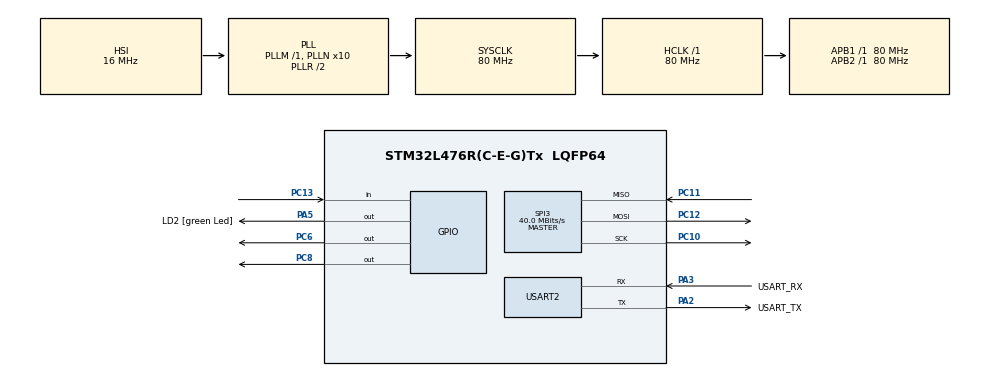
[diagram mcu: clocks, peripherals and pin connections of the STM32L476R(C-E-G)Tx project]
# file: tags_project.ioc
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Mcu.Family=STM32L4
Mcu.Name=STM32L476R(C-E-G)Tx
Mcu.Package=LQFP64
NVIC.PriorityGroup=NVIC_PRIORITYGROUP_4
PA13\ (JTMS-SWDIO).GPIO_Label=TMS
PA13\ (JTMS-SWDIO).Mode=Serial_Wire
PA13\ (JTMS-SWDIO).Signal=SYS_JTMS-SWDIO
PA14\ (JTCK-SWCLK).GPIO_Label=TCK
PA14\ (JTCK-SWCLK).Mode=Serial_Wire
PA14\ (JTCK-SWCLK).Signal=SYS_JTCK-SWCLK
PA2.GPIO_Label=USART_TX
PA2.GPIO_Mode=GPIO_MODE_AF_PP
PA2.GPIO_PuPd=GPIO_NOPULL
PA2.GPIO_Speed=GPIO_SPEED_FREQ_VERY_HIGH
PA2.Mode=Asynchronous
PA2.Signal=USART2_TX
PA3.GPIO_Label=USART_RX
PA3.GPIO_Mode=GPIO_MODE_AF_PP
PA3.GPIO_PuPd=GPIO_NOPULL
PA3.GPIO_Speed=GPIO_SPEED_FREQ_VERY_HIGH
PA3.Mode=Asynchronous
PA3.Signal=USART2_RX
PA5.GPIO_Label=LD2 [green Led]
PA5.GPIO_ModeDefaultOutputPP=GPIO_MODE_OUTPUT_PP
PA5.GPIO_PuPd=GPIO_NOPULL
PA5.GPIO_Speed=GPIO_SPEED_FREQ_LOW
PA5.Signal=GPIO_Output
PB3\ (JTDO-TRACESWO).GPIO_Label=SWO
PB3\ (JTDO-TRACESWO).Signal=SYS_JTDO-SWO
PC10.Mode=Full_Duplex_Master
PC10.Signal=SPI3_SCK
PC11.Mode=Full_Duplex_Master
PC11.Signal=SPI3_MISO
PC12.Mode=Full_Duplex_Master
PC12.Signal=SPI3_MOSI
PC13.Signal=GPIO_Input
PC14-OSC32_IN\ (PC14).Mode=LSE-External-Oscillator
PC14-OSC32_IN\ (PC14).Signal=RCC_OSC32_IN
PC15-OSC32_OUT\ (PC15).Mode=LSE-External-Oscillator
PC15-OSC32_OUT\ (PC15).Signal=RCC_OSC32_OUT
PC6.Signal=GPIO_Output
PC8.Signal=GPIO_Output
PH0-OSC_IN\ (PH0).Mode=HSE-External-Oscillator
PH0-OSC_IN\ (PH0).Signal=RCC_OSC_IN
PH1-OSC_OUT\ (PH1).Mode=HSE-External-Oscillator
PH1-OSC_OUT\ (PH1).Signal=RCC_OSC_OUT
ProjectManager.HeapSize=0x200
ProjectManager.StackSize=0x400
ProjectManager.TargetToolchain=MDK-ARM V5.32
RCC.ADCFreq_Value=64000000
RCC.AHBFreq_Value=80000000
RCC.APB1Freq_Value=80000000
RCC.APB1TimFreq_Value=80000000
RCC.APB2Freq_Value=80000000
RCC.APB2TimFreq_Value=80000000
RCC.CortexFreq_Value=80000000
RCC.HCLKFreq_Value=80000000
RCC.HSE_VALUE=8000000
RCC.HSI_VALUE=16000000
RCC.MSI_VALUE=4000000
RCC.PLLN=10
RCC.PLLSourceVirtual=RCC_PLLSOURCE_HSI
RCC.PREFETCH_ENABLE=1
RCC.SYSCLKFreq_VALUE=80000000
RCC.SYSCLKSource=RCC_SYSCLKSOURCE_PLLCLK
RCC.USBFreq_Value=64000000
RCC.VCOOutputFreq_Value=160000000
SPI3.CalculateBaudRate=40.0 MBits/s
SPI3.DataSize=SPI_DATASIZE_8BIT
SPI3.Direction=SPI_DIRECTION_2LINES
SPI3.Mode=SPI_MODE_MASTER
SPI3.VirtualType=VM_MASTER
USART2.VirtualMode-Asynchronous=VM_ASYNC
board=NUCLEO-L476RG

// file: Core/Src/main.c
/* USER CODE BEGIN Header */
/**
  ******************************************************************************
  * @file           : main.c
  * @brief          : Main program body
  ******************************************************************************
  * @attention
  *
  * <h2><center>&copy; Copyright (c) 2021 STMicroelectronics.
  * All rights reserved.</center></h2>
  *
  * This software component is licensed by ST under BSD 3-Clause license,
  * the "License"; You may not use this file except in compliance with the
  * License. You may obtain a copy of the License at:
  *                        opensource.org/licenses/BSD-3-Clause
  *
  ******************************************************************************
  */
/* USER CODE END Header */
#include "main.h"

/* USER CODE BEGIN Includes */
#include "MFRC522.h"
#define	uchar	unsigned char
#define	uint	unsigned int
/* USER CODE END Includes */

SPI_HandleTypeDef hspi3;

UART_HandleTypeDef huart2;

/* USER CODE BEGIN PV */
char get;
uchar getdata[16];
int l,ii;
uchar senddata[]={52,49,46,46,70,24,0,0,57,41,56,45,66,65,74,66};
char reset[]={0x00,0x00,0x00,0x00,0x00,0x00,0x00,0x00,0x00,0x00,0x00,0x00,0x00,0x00,0x00,0x00,0x00,0x00,0x00,0x00,0x00,0x00,0x00,0x00,0x00};

byte keyA[6] = {0xFf, 0xFf, 0xFF, 0xFF, 0xFF, 0xFF, };
byte keyB[6] = {0xFF, 0xFF, 0xFF, 0xFF, 0xFF, 0xFF, };
/* USER CODE END PV */

void SystemClock_Config(void);
static void MX_GPIO_Init(void);
static void MX_SPI3_Init(void);
static void MX_USART2_UART_Init(void);
/* USER CODE BEGIN PFP */
void SPI_mfrc_Init(void);
void delay(int d);

/* USER CODE END PFP */

int main(void)
{
  /* USER CODE BEGIN 1 */
	uchar process, status, checksum1, str[MAX_LEN],cap,findex=0,mystr[5];

  /* USER CODE END 1 */

  /* MCU Configuration--------------------------------------------------------*/

  /* Reset of all peripherals, Initializes the Flash interface and the Systick. */
  HAL_Init();

  /* Configure the system clock */
  SystemClock_Config();

  /* Initialize all configured peripherals */
  MX_GPIO_Init();
  MX_SPI3_Init();
  MX_USART2_UART_Init();
  /* USER CODE BEGIN 2 */
  SPI_mfrc_Init();
  MFRC522_Init();

  /* USER CODE END 2 */

  /* Infinite loop */
  /* USER CODE BEGIN WHILE */
  GPIOC->ODR |= 1<<4;
  HAL_UART_Transmit(&huart2,(uchar *)"\n\rSerial Connected...\n\r", 25, 5000);
  while (1)
  {
    /* USER CODE END WHILE */

    /* USER CODE BEGIN 3 */
     findex++;

     // Find cards

     status = MFRC522_Request(PICC_REQIDL, str);

     if (status == MI_OK) {
       HAL_UART_Transmit(&huart2,(uchar *)"\n\r~~~ Card detected!\n\r", 24, 5000);
       HAL_UART_Transmit(&huart2,(uchar *)"Card Type : \n\r", 16, 5000);
       HAL_UART_Transmit(&huart2,(uchar *)&str[0],8, 5000);
     }
		 //else
			 //HAL_UART_Transmit(&huart2,(uchar *)"Err1\n\r", 6, 5000);

     // Anti-collision, return card serial number == 4 bytes
     status = MFRC522_Anticoll(str);
     if (status == MI_OK) {

     checksum1 = str[0] ^ str[1] ^ str[2] ^ str[3];
     HAL_UART_Transmit(&huart2,(uchar *)"\n\rThe card's number is:\n\r", 25, 5000);
	   sprintf((char *)mystr,"%3d:%3d:%3d:%3d\n\r",(uchar)str[0],(uchar)str[1],(uchar)str[2],(uchar)str[3]);
	   HAL_UART_Transmit(&huart2,mystr, 18, 5000);
     cap=MFRC522_SelectTag(str);
     //SER_putString (0,"\n\rcap:");
     //SER_SendChar(0,cap);

     /// Be Carefull !! ::
     ///write data on 0,1,2,4,5,6,8,... and Don't write data on 3,7,11,.... blocks .
     /// write Key on 3,7,11,... blocks.

     // Read from and Wirte to block 1 and 2 ////

      for (ii = 1; ii < 3; ii++) {

       // Try to authenticate each block first with the A key.
	       process=MFRC522_Auth(0x60, ii,keyA ,str);
      	 if (process == MI_OK) {
         		process= MFRC522_Write(ii,senddata);
            if (process == MI_OK) {
	            process= MFRC522_Read(ii, getdata);
	           	if (process == MI_OK)
	                  HAL_UART_Transmit(&huart2,(uchar *)"\n\r block\n\r", 10, 5000);
              //		SER_SendChar(0,ii);
              //		SER_putString (0,":");
            		  for (l=0;l<16;l++){
                    HAL_UART_Transmit(&huart2,(uchar *)&getdata[l], 1, 5000);
                    HAL_UART_Transmit(&huart2,(uchar *)":", 1, 5000);
	  	   }

      }
	    }else{
    	  process=MFRC522_Auth(0x61, ii,keyB,str);
	      if (process == MI_OK) {
   				process= MFRC522_Write(ii,senddata);
      	  if (process == MI_OK) {
	            process= MFRC522_Read(ii, getdata);
	        	  if (process == MI_OK)
	         		  for (l=0;l<16;l++){
	   	             HAL_UART_Transmit(&huart2,(uchar *)&getdata[l], 1, 5000);
                   HAL_UART_Transmit(&huart2,(uchar *)":", 1, 5000);
					   }
	   		  }
          }else
  		    {
              HAL_UART_Transmit(&huart2,(uchar *)"\n\rKeys are wrong.\n\r", 19, 5000);
		      }
	      }
	    }
      HAL_UART_Transmit(&huart2,(uchar *)"\n\rEnd.\n\r", 8, 5000);
   	  MFRC522_Halt();
	    MFRC522_Init();

	    HAL_Delay(2000);
	  }
		// else
			// HAL_UART_Transmit(&huart1,(uchar *)"Err2\n\r", 6, 5000);

   // sprintf((char *)mystr,"%3d\r",findex);
	//	HAL_UART_Transmit(&huart1,mystr, 4, 5000);

	}
  /* USER CODE END 3 */
}

void SystemClock_Config(void)
{
  RCC_OscInitTypeDef RCC_OscInitStruct = {0};
  RCC_ClkInitTypeDef RCC_ClkInitStruct = {0};

  /** Configure the main internal regulator output voltage
  */
  if (HAL_PWREx_ControlVoltageScaling(PWR_REGULATOR_VOLTAGE_SCALE1) != HAL_OK)
  {
    Error_Handler();
  }
  /** Initializes the RCC Oscillators according to the specified parameters
  * in the RCC_OscInitTypeDef structure.
  */
  RCC_OscInitStruct.OscillatorType = RCC_OSCILLATORTYPE_HSI;
  RCC_OscInitStruct.HSIState = RCC_HSI_ON;
  RCC_OscInitStruct.HSICalibrationValue = RCC_HSICALIBRATION_DEFAULT;
  RCC_OscInitStruct.PLL.PLLState = RCC_PLL_ON;
  RCC_OscInitStruct.PLL.PLLSource = RCC_PLLSOURCE_HSI;
  RCC_OscInitStruct.PLL.PLLM = 1;
  RCC_OscInitStruct.PLL.PLLN = 10;
  RCC_OscInitStruct.PLL.PLLP = RCC_PLLP_DIV7;
  RCC_OscInitStruct.PLL.PLLQ = RCC_PLLQ_DIV2;
  RCC_OscInitStruct.PLL.PLLR = RCC_PLLR_DIV2;
  if (HAL_RCC_OscConfig(&RCC_OscInitStruct) != HAL_OK)
  {
    Error_Handler();
  }
  /** Initializes the CPU, AHB and APB buses clocks
  */
  RCC_ClkInitStruct.ClockType = RCC_CLOCKTYPE_HCLK|RCC_CLOCKTYPE_SYSCLK
                              |RCC_CLOCKTYPE_PCLK1|RCC_CLOCKTYPE_PCLK2;
  RCC_ClkInitStruct.SYSCLKSource = RCC_SYSCLKSOURCE_PLLCLK;
  RCC_ClkInitStruct.AHBCLKDivider = RCC_SYSCLK_DIV1;
  RCC_ClkInitStruct.APB1CLKDivider = RCC_HCLK_DIV1;
  RCC_ClkInitStruct.APB2CLKDivider = RCC_HCLK_DIV1;

  if (HAL_RCC_ClockConfig(&RCC_ClkInitStruct, FLASH_LATENCY_4) != HAL_OK)
  {
    Error_Handler();
  }
}

static void MX_SPI3_Init(void)
{

  /* SPI3 parameter configuration*/
  hspi3.Instance = SPI3;
  hspi3.Init.Mode = SPI_MODE_MASTER;
  hspi3.Init.Direction = SPI_DIRECTION_2LINES;
  hspi3.Init.DataSize = SPI_DATASIZE_8BIT;
  hspi3.Init.CLKPolarity = SPI_POLARITY_LOW;
  hspi3.Init.CLKPhase = SPI_PHASE_1EDGE;
  hspi3.Init.NSS = SPI_NSS_SOFT;
  hspi3.Init.BaudRatePrescaler = SPI_BAUDRATEPRESCALER_64;
  hspi3.Init.FirstBit = SPI_FIRSTBIT_MSB;
  hspi3.Init.TIMode = SPI_TIMODE_DISABLE;
  hspi3.Init.CRCCalculation = SPI_CRCCALCULATION_DISABLE;
  hspi3.Init.CRCPolynomial = 7;
  hspi3.Init.CRCLength = SPI_CRC_LENGTH_DATASIZE;
  hspi3.Init.NSSPMode = SPI_NSS_PULSE_ENABLE;

  if (HAL_SPI_Init(&hspi3) != HAL_OK)
  {
    Error_Handler();
  }

}

static void MX_USART2_UART_Init(void)
{

  huart2.Instance = USART2;
  huart2.Init.BaudRate = 115200;
  huart2.Init.WordLength = UART_WORDLENGTH_8B;
  huart2.Init.StopBits = UART_STOPBITS_1;
  huart2.Init.Parity = UART_PARITY_NONE;
  huart2.Init.Mode = UART_MODE_TX_RX;
  huart2.Init.HwFlowCtl = UART_HWCONTROL_NONE;
  huart2.Init.OverSampling = UART_OVERSAMPLING_16;
  huart2.Init.OneBitSampling = UART_ONE_BIT_SAMPLE_DISABLE;
  huart2.AdvancedInit.AdvFeatureInit = UART_ADVFEATURE_NO_INIT;
  if (HAL_UART_Init(&huart2) != HAL_OK)
  {
    Error_Handler();
  }

}

static void MX_GPIO_Init(void)
{
  GPIO_InitTypeDef GPIO_InitStruct = {0};

  /* GPIO Ports Clock Enable */
  __HAL_RCC_GPIOC_CLK_ENABLE();
  __HAL_RCC_GPIOH_CLK_ENABLE();
  __HAL_RCC_GPIOA_CLK_ENABLE();
  __HAL_RCC_GPIOB_CLK_ENABLE();

  /*Configure GPIO pin Output Level */
  HAL_GPIO_WritePin(LD2_GPIO_Port, LD2_Pin, GPIO_PIN_RESET);

  /*Configure GPIO pin Output Level */
  HAL_GPIO_WritePin(GPIOC, GPIO_PIN_6|GPIO_PIN_8, GPIO_PIN_RESET);

  /*Configure GPIO pin : PC13 */
  GPIO_InitStruct.Pin = GPIO_PIN_13;
  GPIO_InitStruct.Mode = GPIO_MODE_INPUT;
  GPIO_InitStruct.Pull = GPIO_NOPULL;
  HAL_GPIO_Init(GPIOC, &GPIO_InitStruct);

  /*Configure GPIO pin : LD2_Pin */
  GPIO_InitStruct.Pin = LD2_Pin;
  GPIO_InitStruct.Mode = GPIO_MODE_OUTPUT_PP;
  GPIO_InitStruct.Pull = GPIO_NOPULL;
  GPIO_InitStruct.Speed = GPIO_SPEED_FREQ_LOW;
  HAL_GPIO_Init(LD2_GPIO_Port, &GPIO_InitStruct);

  /*Configure GPIO pins : PC6 PC8 */
  GPIO_InitStruct.Pin = GPIO_PIN_6|GPIO_PIN_8;
  GPIO_InitStruct.Mode = GPIO_MODE_OUTPUT_PP;
  GPIO_InitStruct.Pull = GPIO_NOPULL;
  GPIO_InitStruct.Speed = GPIO_SPEED_FREQ_LOW;
  HAL_GPIO_Init(GPIOC, &GPIO_InitStruct);

}

/* USER CODE BEGIN 4 */
void delay(int d){
  int i;
for (i=0;i<d*10000;i++);
}

void SPI_mfrc_Init(void)
{
	CS_PORT_NAME->ODR |= 1<<CS_PIN_NUM;
}

/* USER CODE END 4 */

void Error_Handler(void)
{
  __disable_irq();
  while (1)
  {
  }
}

/************************ (C) COPYRIGHT STMicroelectronics *****END OF FILE****/
